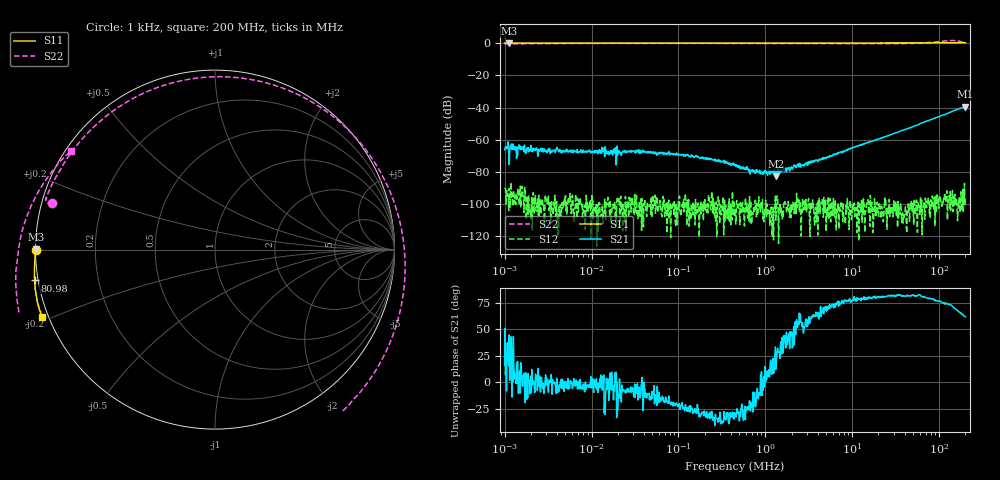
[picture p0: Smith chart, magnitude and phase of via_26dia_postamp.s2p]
! ListType=Log
# MHZ S RI R 50
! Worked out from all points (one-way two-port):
!   1000 points, 1 kHz to 200 MHz, reference 50 ohm
!   highest |S21| = -39.49 dB at 200 MHz (marker M1); lowest = -82.6 dB at 1.319 MHz (marker M2)
!   lowest |S11| = 0.0 dB at 1.116 kHz (marker M3)
!   |S11| at or under -10 dB: nowhere
!   |S22| runs from -0.5 to 1.7 dB; largest |S21 - S12| = 0.011
!   S11 on the Smith chart (normalised r, x): 1 kHz: 0.00, +0.00; 80.98 MHz: -0.01, -0.08; 200 MHz: -0.02, -0.19
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0.001  -0.9997 0.000369  0.000472 0.000137  -1.15e-05 -2.99e-05  -0.9089 0.26
0.0011162  -0.9983 0.00114  0.000397 0.000112  -5.6e-06 3e-06  -0.9121 0.2584
0.0076941  -0.9995 -1.5e-05  0.000453 -3.2e-05  -2.1e-06 8.4e-06  -0.9422 0.2759
0.0584804  -0.9996 -0.000195  0.000356 -9.15e-05  1.1e-06 -7.5e-06  -0.9406 0.2882
0.4499541  -0.9994 -0.000789  0.000149 -8.43e-05  1.8e-06 7.1e-06  -0.9349 0.303
0.698548  -0.9995 -0.00142  0.0001 -3.76e-05  -1.1e-06 -2.2e-06  -0.9312 0.3116
1.318639  -0.9992 -0.00288  7.28e-05 1.59e-05  -3.2e-06 -1e-07  -0.9219 0.3325
3.419952  -0.9988 -0.00843  9.26e-05 0.000177  -1.8e-06 -7.2e-06  -0.8867 0.4028
12.03851  -1.001 -0.0297  0.000132 0.000669  -7.5e-06 -3e-07  -0.7122 0.6466
26.31347  -1.004 -0.061  0.000193 0.00136  3.6e-06 -3.5e-06  -0.3118 0.9064
38.43037  -1.005 -0.0866  0.00031 0.00197  1.2e-06 -2.3e-06  0.0882 0.9611
50.9003  -1.006 -0.1124  0.000384 0.00261  -1e-07 -2.3e-06  0.4925 0.8486
64.20084  -1.006 -0.1391  0.000545 0.00332  -1.3e-06 -7.1e-06  0.8403 0.5559
80.97689  -1.005 -0.1719  0.000849 0.00417  -6.4e-06 -1.16e-05  1.054 0.0132
92.62555  -1.004 -0.1941  0.00113 0.00476  -3.4e-06 -4.1e-06  1.016 -0.4025
104.6632  -1.001 -0.2168  0.00135 0.00541  -1.05e-05 -5.5e-06  0.8113 -0.7913
119.7192  -0.9979 -0.2441  0.00172 0.00605  -1.47e-05 -6e-07  0.363 -1.12
133.6352  -0.9938 -0.2689  0.00206 0.00683  -2.39e-05 -5.9e-06  -0.1491 -1.193
149.1688  -0.9888 -0.2954  0.0028 0.00758  1.5e-06 -9.1e-06  -0.6843 -0.9897
166.5079  -0.9806 -0.3245  0.00355 0.00828  -7e-06 -1.02e-05  -1.054 -0.491
179.1732  -0.9712 -0.3443  0.00406 0.00882  -1.87e-05 -8.8e-06  -1.102 -0.0581
200  -0.963 -0.3749  0.00503 0.00933  -1.29e-05 -6.6e-06  -0.8026 0.5506
